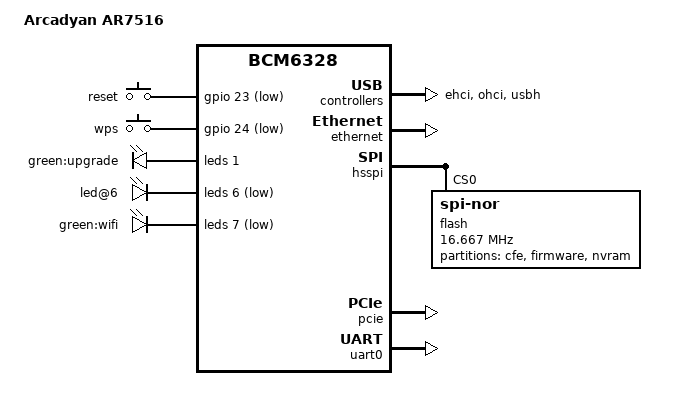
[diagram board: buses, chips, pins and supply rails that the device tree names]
// SPDX-License-Identifier: GPL-2.0-or-later

#include "bcm6328.dtsi"

/ {
	model = "Arcadyan AR7516";
	compatible = "arcadyan,ar7516", "brcm,bcm6328";

	aliases {
		led-failsafe = &led_upgrade_green;
		led-upgrade = &led_upgrade_green;
	};

	keys {
		compatible = "gpio-keys-polled";
		poll-interval = <100>;

		reset {
			label = "reset";
			gpios = <&gpio 23 GPIO_ACTIVE_LOW>;
			linux,code = <KEY_RESTART>;
			debounce-interval = <60>;
		};

		wps {
			label = "wps";
			gpios = <&gpio 24 GPIO_ACTIVE_LOW>;
			linux,code = <KEY_WPS_BUTTON>;
			debounce-interval = <60>;
		};
	};

	bcm43227-sprom {
		compatible = "brcm,bcma-sprom";

		pci-bus = <1>;
		pci-dev = <0>;

		nvmem-cells = <&macaddr_cfe_6a0 1>;
		nvmem-cell-names = "mac-address";

		brcm,sprom = "brcm/bcm43227-sprom.bin";
	};
};

&ehci {
	status = "okay";
};

&ethernet {
	status = "okay";

	nvmem-cells = <&macaddr_cfe_6a0 0>;
	nvmem-cell-names = "mac-address";
};

&hsspi {
	status = "okay";

	flash@0 {
		compatible = "jedec,spi-nor";
		spi-max-frequency = <16666667>;
		spi-tx-bus-width = <2>;
		spi-rx-bus-width = <2>;
		reg = <0>;

		partitions {
			compatible = "fixed-partitions";
			#address-cells = <1>;
			#size-cells = <1>;

			partition@0 {
				label = "cfe";
				reg = <0x000000 0x010000>;
				read-only;

				nvmem-layout {
					compatible = "fixed-layout";
					#address-cells = <1>;
					#size-cells = <1>;

					macaddr_cfe_6a0: macaddr@6a0 {
						compatible = "mac-base";
						reg = <0x6a0 0x6>;
						#nvmem-cell-cells = <1>;
					};
				};
			};

			partition@10000 {
				compatible = "brcm,bcm963xx-imagetag";
				label = "firmware";
				reg = <0x010000 0x7e0000>;
			};

			partition@7f0000 {
				label = "nvram";
				reg = <0x7f0000 0x010000>;
			};
		};
	};
};

&leds {
	status = "okay";

	pinctrl-names = "default";
	pinctrl-0 = <&pinctrl_ephy0_act_led &pinctrl_ephy1_act_led
		     &pinctrl_ephy2_act_led &pinctrl_ephy3_act_led
		     &pinctrl_leds>;

	led_upgrade_green: led@1 {
		reg = <1>;
		label = "green:upgrade";
	};

	led@6 {
		reg = <6>;
		active-low;
		function = LED_FUNCTION_WAN;
		color = <LED_COLOR_ID_GREEN>;
	};

	led@7 {
		reg = <7>;
		active-low;
		label = "green:wifi";
	};
};

&ohci {
	status = "okay";
};

&pcie {
	status = "okay";
};

&pinctrl {
	pinctrl_leds: leds {
		function = "led";
		pins = "gpio1", "gpio6", "gpio7";
	};
};

&switch0 {
	ports {
		port@0 {
			reg = <0>;
			label = "lan1";

			phy-handle = <&phy1>;
			phy-mode = "mii";
		};

		port@1 {
			reg = <1>;
			label = "lan2";

			phy-handle = <&phy2>;
			phy-mode = "mii";
		};

		port@2 {
			reg = <2>;
			label = "lan3";

			phy-handle = <&phy3>;
			phy-mode = "mii";
		};

		port@3 {
			reg = <3>;
			label = "wan";

			phy-handle = <&phy4>;
			phy-mode = "mii";
		};
	};
};

&uart0 {
	status = "okay";
};

&usbh {
	status = "okay";
};
